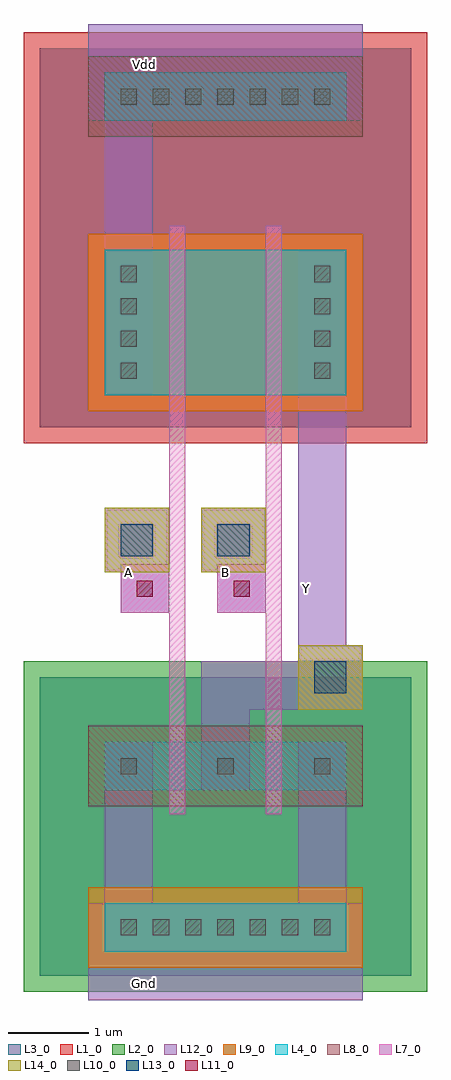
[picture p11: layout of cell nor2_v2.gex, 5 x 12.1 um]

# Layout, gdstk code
import gdstk
lib = gdstk.Library(unit=1e-6, precision=1e-09)
def R(c, l, rs):  # rectangles x0, y0, x1, y1
    for r in rs: c.add(gdstk.rectangle(r[:2], r[2:], *l))
def A(c, l, x, y, w, h, nx, ny, dx, dy):  # array of equal rectangles
    R(c, l, [(x+i*dx, y+j*dy, x+i*dx+w, y+j*dy+h) for i in range(nx) for j in range(ny)])
L1_0 = (1, 0)
L2_0 = (2, 0)
L3_0 = (3, 0)
L4_0 = (4, 0)
L7_0 = (7, 0)
L8_0 = (8, 0)
L9_0 = (9, 0)
L10_0 = (10, 0)
L11_0 = (11, 0)
L12_0 = (12, 0)
L13_0 = (13, 0)
L14_0 = (14, 0)

nor2_v2_gex = lib.new_cell('nor2_v2.gex')
R(nor2_v2_gex, L1_0, [(-0.8,6.9,4.2,12)])
R(nor2_v2_gex, L2_0, [(-0.8,0.1,4.2,4.2)])
R(nor2_v2_gex, L3_0, [(-0.6,0.3,4,4), (-0.6,7.1,4,11.8)])
R(nor2_v2_gex, L4_0, [(0.2,0.6,3.2,1.2), (0.2,2.6,3.2,3.2), (0.2,7.5,3.2,9.3), (0.2,10.9,3.2,11.5)])
R(nor2_v2_gex, L7_0, [(1,2.3,1.2,9.6), (2.2,2.3,2.4,9.6), (0.4,4.8,1,5.4), (1.6,4.8,2.2,5.4)])
R(nor2_v2_gex, L8_0, [(0,2.4,3.4,3.4), (0,10.7,3.4,11.7)])
R(nor2_v2_gex, L9_0, [(0,0.4,3.4,1.4), (0,7.3,3.4,9.5)])
A(nor2_v2_gex, L10_0, 0.4, 0.8, 0.2, 0.2, 7, 2, 0.4, 10.3)
A(nor2_v2_gex, L10_0, 0.4, 2.8, 0.2, 0.2, 3, 1, 1.2, 0)
A(nor2_v2_gex, L10_0, 0.4, 7.7, 0.2, 0.2, 1, 4, 0, 0.4)
A(nor2_v2_gex, L10_0, 2.8, 7.7, 0.2, 0.2, 1, 4, 0, 0.4)
R(nor2_v2_gex, L11_0, [(0.6,5,0.8,5.2), (1.8,5,2,5.2)])
R(nor2_v2_gex, L12_0, [(0,0,3.4,1.2), (0.2,1.2,0.8,3.2), (2.6,1.2,3.2,3.2), (1.4,2.6,2,3.6), (1.4,3.6,2.6,4.2), (2.6,3.6,3.2,9.3), (2.6,3.6,3.4,4.4), (0.4,4.8,1,5.4), (1.6,4.8,2.2,5.4), (0.2,5.3,1,6.1), (1.4,5.3,2.2,6.1), (0.2,7.5,0.8,10.9), (0,10.9,3.4,12.1)])
R(nor2_v2_gex, L13_0, [(2.8,3.8,3.2,4.2), (0.4,5.5,0.8,5.9), (1.6,5.5,2,5.9)])
R(nor2_v2_gex, L14_0, [(2.6,3.6,3.4,4.4), (0.2,5.3,1,6.1), (1.4,5.3,2.2,6.1)])
nor2_v2_gex.add(gdstk.Label('Vdd', (0.7,11.6), layer=12, texttype=0))
nor2_v2_gex.add(gdstk.Label('Y', (2.7,5.1), layer=12, texttype=0))
nor2_v2_gex.add(gdstk.Label('Gnd', (0.7,0.2), layer=12, texttype=0))
nor2_v2_gex.add(gdstk.Label('B', (1.7,5.3), layer=12, texttype=0))
nor2_v2_gex.add(gdstk.Label('A', (0.5,5.3), layer=12, texttype=0))

lib.write_gds('nor2_v2.gex.gds')
